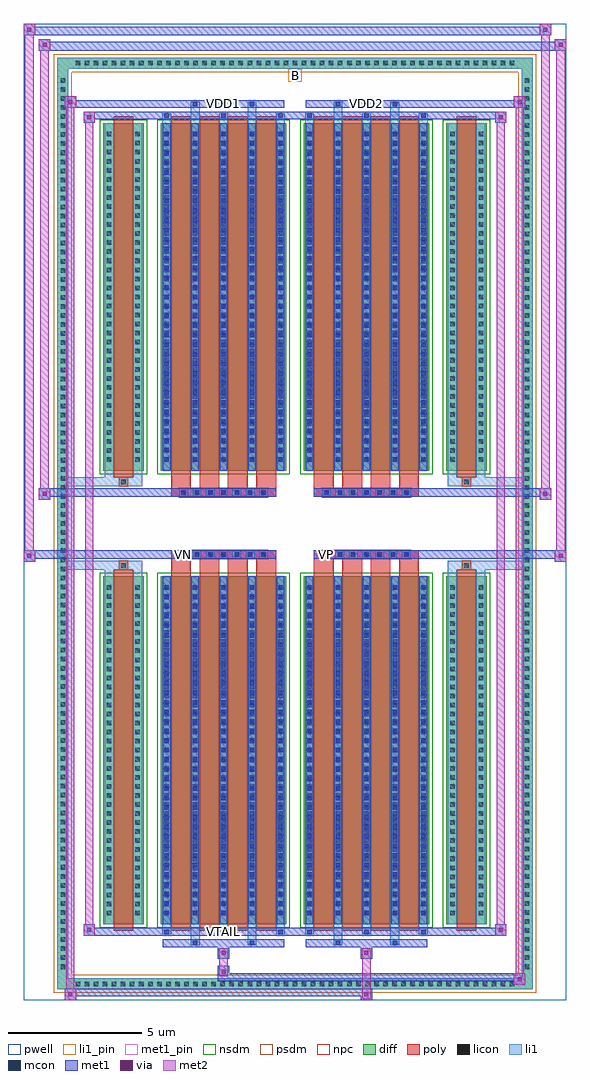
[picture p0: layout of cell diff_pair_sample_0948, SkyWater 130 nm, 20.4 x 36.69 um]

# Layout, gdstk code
import gdstk
lib = gdstk.Library(unit=1e-6, precision=5e-09)
def R(c, l, rs):  # rectangles x0, y0, x1, y1
    for r in rs: c.add(gdstk.rectangle(r[:2], r[2:], *l))
def A(c, l, x, y, w, h, nx, ny, dx, dy):  # array of equal rectangles
    R(c, l, [(x+i*dx, y+j*dy, x+i*dx+w, y+j*dy+h) for i in range(nx) for j in range(ny)])
def P(c, l, *ps):  # polygons
    for p in ps: c.add(gdstk.Polygon(p, *l))
pwell = (64, 44)
diff = (65, 20)
poly = (66, 20)
licon = (66, 44)
li1_pin = (67, 16)
li1 = (67, 20)
mcon = (67, 44)
met1_pin = (68, 16)
met1 = (68, 20)
via = (68, 44)
met2 = (69, 20)
nsdm = (93, 44)
psdm = (94, 20)
npc = (95, 20)

diff_pair_sample_0948 = lib.new_cell('diff_pair_sample_0948')
R(diff_pair_sample_0948, pwell, [(-10.2,-17.91,10.2,18.78), (-7.52,-16.1,-0.01,-0.8), (0.01,-16.1,7.52,-0.8), (-7.52,0.8,-0.01,16.1), (0.01,0.8,7.52,16.1)])
A(diff_pair_sample_0948, diff, -8.365, -17.51, 0.41, 0.41, 49, 2, 0.34, 34.61)
A(diff_pair_sample_0948, diff, -8.93, -16.865, 0.41, 0.41, 1, 99, 0, 0.34)
A(diff_pair_sample_0948, diff, 8.52, -16.865, 0.41, 0.41, 1, 99, 0, 0.34)
R(diff_pair_sample_0948, diff, [(-8.365,-17.51,8.365,-17.1), (-8.93,-16.865,-8.52,16.865), (8.52,-16.865,8.93,16.865), (-7.21,-15.055,-5.69,-1.985), (-5.05,-15.055,-0.32,-1.985), (0.32,-15.055,5.05,-1.985), (5.69,-15.055,7.21,-1.985), (-7.21,1.985,-5.69,15.055), (-5.05,1.985,-0.32,15.055), (0.32,1.985,5.05,15.055), (5.69,1.985,7.21,15.055), (-8.365,17.1,8.365,17.51)])
P(diff_pair_sample_0948, diff, [(8.93,17.51),(-8.93,17.51),(-8.93,-17.1),(-8.52,-17.1),(-8.52,17.1),(8.52,17.1),(8.52,-17.1),(-8.52,-17.1),(-8.93,-17.1),(-8.93,-17.51),(8.93,-17.51)])
A(diff_pair_sample_0948, poly, -4.66, -15.305, 0.74, 13.57, 4, 2, 1.07, 17.04)
A(diff_pair_sample_0948, poly, 0.71, -15.305, 0.74, 13.57, 4, 2, 1.07, 17.04)
A(diff_pair_sample_0948, poly, -4.66, -1.735, 0.74, 0.405, 4, 2, 1.07, 3.065)
A(diff_pair_sample_0948, poly, 0.71, -1.735, 0.74, 0.405, 4, 2, 1.07, 3.065)
A(diff_pair_sample_0948, poly, -4.35, -1.33, 0.33, 0.33, 7, 2, 0.5, 2.33)
A(diff_pair_sample_0948, poly, 1.02, -1.33, 0.33, 0.33, 7, 2, 0.5, 2.33)
R(diff_pair_sample_0948, poly, [(-6.82,-15.305,-6.08,-1.735), (6.08,-15.305,6.82,-1.735), (-6.615,-1.735,-6.285,-1.405), (-6.615,-1.735,-6.285,-1.405), (6.285,-1.735,6.615,-1.405), (6.285,-1.735,6.615,-1.405), (-4.66,-1.33,-0.71,-1), (0.71,-1.33,4.66,-1), (-4.66,1,-0.71,1.33), (0.71,1,4.66,1.33), (-6.615,1.405,-6.285,1.735), (-6.615,1.405,-6.285,1.735), (6.285,1.405,6.615,1.735), (6.285,1.405,6.615,1.735), (-6.82,1.735,-6.08,15.305), (6.08,1.735,6.82,15.305)])
A(diff_pair_sample_0948, licon, -8.245, -17.39, 0.17, 0.17, 49, 2, 0.34, 34.61)
A(diff_pair_sample_0948, licon, -8.81, -16.745, 0.17, 0.17, 1, 99, 0, 0.34)
A(diff_pair_sample_0948, licon, 8.64, -16.745, 0.17, 0.17, 1, 99, 0, 0.34)
A(diff_pair_sample_0948, licon, -7.07, -14.725, 0.17, 0.17, 1, 37, 0, 0.34)
A(diff_pair_sample_0948, licon, -6, -14.725, 0.17, 0.17, 1, 37, 0, 0.34)
A(diff_pair_sample_0948, licon, -4.91, -14.725, 0.17, 0.17, 5, 37, 1.07, 0.34)
A(diff_pair_sample_0948, licon, 0.46, -14.725, 0.17, 0.17, 5, 37, 1.07, 0.34)
A(diff_pair_sample_0948, licon, 5.83, -14.725, 0.17, 0.17, 1, 37, 0, 0.34)
A(diff_pair_sample_0948, licon, 6.9, -14.725, 0.17, 0.17, 1, 37, 0, 0.34)
A(diff_pair_sample_0948, licon, -4.27, -1.25, 0.17, 0.17, 7, 2, 0.5, 2.33)
A(diff_pair_sample_0948, licon, 1.1, -1.25, 0.17, 0.17, 7, 2, 0.5, 2.33)
A(diff_pair_sample_0948, licon, -7.07, 2.315, 0.17, 0.17, 1, 37, 0, 0.34)
A(diff_pair_sample_0948, licon, -6, 2.315, 0.17, 0.17, 1, 37, 0, 0.34)
A(diff_pair_sample_0948, licon, -4.91, 2.315, 0.17, 0.17, 5, 37, 1.07, 0.34)
A(diff_pair_sample_0948, licon, 0.46, 2.315, 0.17, 0.17, 5, 37, 1.07, 0.34)
A(diff_pair_sample_0948, licon, 5.83, 2.315, 0.17, 0.17, 1, 37, 0, 0.34)
A(diff_pair_sample_0948, licon, 6.9, 2.315, 0.17, 0.17, 1, 37, 0, 0.34)
R(diff_pair_sample_0948, licon, [(-6.535,-1.655,-6.365,-1.485), (6.365,-1.655,6.535,-1.485), (-6.535,1.485,-6.365,1.655), (6.365,1.485,6.535,1.655)])
R(diff_pair_sample_0948, li1_pin, [(-0.25,16.6,0.25,17.1)])
A(diff_pair_sample_0948, li1, -8.325, -17.47, 0.33, 0.33, 49, 2, 0.34, 34.61)
A(diff_pair_sample_0948, li1, -8.89, -16.825, 0.33, 0.33, 1, 99, 0, 0.34)
A(diff_pair_sample_0948, li1, 8.56, -16.825, 0.33, 0.33, 1, 99, 0, 0.34)
A(diff_pair_sample_0948, li1, -4.99, -15.43, 0.33, 0.375, 3, 2, 2.14, 30.485)
A(diff_pair_sample_0948, li1, -4.91, -15.43, 0.17, 0.17, 3, 2, 2.14, 30.69)
A(diff_pair_sample_0948, li1, 0.38, -15.43, 0.33, 0.375, 3, 2, 2.14, 30.485)
A(diff_pair_sample_0948, li1, 0.46, -15.43, 0.17, 0.17, 3, 2, 2.14, 30.69)
A(diff_pair_sample_0948, li1, -4.99, -15.055, 0.33, 13.07, 5, 2, 1.07, 17.04)
A(diff_pair_sample_0948, li1, 0.38, -15.055, 0.33, 13.07, 5, 2, 1.07, 17.04)
A(diff_pair_sample_0948, li1, -7.15, -14.805, 0.33, 0.33, 1, 37, 0, 0.34)
A(diff_pair_sample_0948, li1, -6.08, -14.805, 0.33, 0.33, 1, 37, 0, 0.34)
A(diff_pair_sample_0948, li1, -4.99, -14.805, 0.33, 0.33, 5, 37, 1.07, 0.34)
A(diff_pair_sample_0948, li1, 0.38, -14.805, 0.33, 0.33, 5, 37, 1.07, 0.34)
A(diff_pair_sample_0948, li1, 5.75, -14.805, 0.33, 0.33, 1, 37, 0, 0.34)
A(diff_pair_sample_0948, li1, 6.82, -14.805, 0.33, 0.33, 1, 37, 0, 0.34)
A(diff_pair_sample_0948, li1, -4.91, -14.725, 0.17, 0.17, 5, 35, 1.07, 0.36)
A(diff_pair_sample_0948, li1, -4.91, -14.725, 0.17, 12.41, 5, 2, 1.07, 17.04)
A(diff_pair_sample_0948, li1, 0.46, -14.725, 0.17, 0.17, 5, 35, 1.07, 0.36)
A(diff_pair_sample_0948, li1, 0.46, -14.725, 0.17, 12.41, 5, 2, 1.07, 17.04)
A(diff_pair_sample_0948, li1, -4.35, -1.33, 0.33, 0.33, 7, 2, 0.5, 2.33)
A(diff_pair_sample_0948, li1, 1.02, -1.33, 0.33, 0.33, 7, 2, 0.5, 2.33)
A(diff_pair_sample_0948, li1, -7.15, 2.235, 0.33, 0.33, 1, 37, 0, 0.34)
A(diff_pair_sample_0948, li1, -6.08, 2.235, 0.33, 0.33, 1, 37, 0, 0.34)
A(diff_pair_sample_0948, li1, -4.99, 2.235, 0.33, 0.33, 5, 37, 1.07, 0.34)
A(diff_pair_sample_0948, li1, 0.38, 2.235, 0.33, 0.33, 5, 37, 1.07, 0.34)
A(diff_pair_sample_0948, li1, 5.75, 2.235, 0.33, 0.33, 1, 37, 0, 0.34)
A(diff_pair_sample_0948, li1, 6.82, 2.235, 0.33, 0.33, 1, 37, 0, 0.34)
A(diff_pair_sample_0948, li1, -4.91, 2.315, 0.17, 0.17, 5, 35, 1.07, 0.36)
A(diff_pair_sample_0948, li1, 0.46, 2.315, 0.17, 0.17, 5, 35, 1.07, 0.36)
R(diff_pair_sample_0948, li1, [(-8.93,-17.51,-8.52,-17.1), (-8.93,-17.51,-8.52,-17.1), (-8.52,-17.51,8.52,-17.1), (8.52,-17.51,8.93,-17.1), (8.52,-17.51,8.93,-17.1), (-8.93,-17.1,-8.52,17.1), (8.52,-17.1,8.93,17.1), (-3.92,-15.86,-3.59,-15.055), (-3.84,-15.86,-3.67,-15.69), (-1.78,-15.86,-1.45,-15.055), (-1.7,-15.86,-1.53,-15.69), (1.45,-15.86,1.78,-15.055), (1.53,-15.86,1.7,-15.69), (3.59,-15.86,3.92,-15.055), (3.67,-15.86,3.84,-15.69), (-7.15,-15.055,-6.82,-1.985), (-6.08,-15.055,-5.75,-1.985), (5.75,-15.055,6.08,-1.985), (6.82,-15.055,7.15,-1.985), (-7.15,-1.985,-6.82,-1.405), (-6.08,-1.985,-5.75,-1.405), (5.75,-1.985,6.08,-1.405), (6.82,-1.985,7.15,-1.405), (-8.93,-1.735,-6.615,-1.405), (-7.15,-1.735,-6.615,-1.405), (-6.615,-1.735,-6.285,-1.405), (-6.285,-1.735,-5.75,-1.405), (5.75,-1.735,6.285,-1.405), (6.285,-1.735,6.615,-1.405), (6.285,-1.735,8.93,-1.405), (6.615,-1.735,7.15,-1.405), (-8.93,1.405,-6.615,1.735), (-7.15,1.405,-6.615,1.735), (-7.15,1.405,-6.82,1.985), (-6.615,1.405,-6.285,1.735), (-6.285,1.405,-5.75,1.735), (-6.08,1.405,-5.75,1.985), (5.75,1.405,6.285,1.735), (5.75,1.405,6.08,1.985), (6.285,1.405,6.615,1.735), (6.285,1.405,8.93,1.735), (6.615,1.405,7.15,1.735), (6.82,1.405,7.15,1.985), (-7.15,1.985,-6.82,15.055), (-6.08,1.985,-5.75,15.055), (5.75,1.985,6.08,15.055), (6.82,1.985,7.15,15.055), (-3.92,15.055,-3.59,15.86), (-1.78,15.055,-1.45,15.86), (1.45,15.055,1.78,15.86), (3.59,15.055,3.92,15.86), (-3.84,15.69,-3.67,15.86), (-1.7,15.69,-1.53,15.86), (1.53,15.69,1.7,15.86), (3.67,15.69,3.84,15.86), (-8.93,17.1,-8.52,17.51), (-8.93,17.1,-8.52,17.51), (-8.52,17.1,8.52,17.51), (8.52,17.1,8.93,17.51), (8.52,17.1,8.93,17.51)])
A(diff_pair_sample_0948, mcon, -4.91, -15.43, 0.17, 0.17, 3, 2, 2.14, 30.69)
A(diff_pair_sample_0948, mcon, 0.46, -15.43, 0.17, 0.17, 3, 2, 2.14, 30.69)
A(diff_pair_sample_0948, mcon, -4.91, -14.725, 0.17, 0.17, 5, 35, 1.07, 0.36)
A(diff_pair_sample_0948, mcon, 0.46, -14.725, 0.17, 0.17, 5, 35, 1.07, 0.36)
A(diff_pair_sample_0948, mcon, -4.27, -1.25, 0.17, 0.17, 7, 2, 0.5, 2.33)
A(diff_pair_sample_0948, mcon, 1.1, -1.25, 0.17, 0.17, 7, 2, 0.5, 2.33)
A(diff_pair_sample_0948, mcon, -4.91, 2.315, 0.17, 0.17, 5, 35, 1.07, 0.36)
A(diff_pair_sample_0948, mcon, 0.46, 2.315, 0.17, 0.17, 5, 35, 1.07, 0.36)
R(diff_pair_sample_0948, mcon, [(-3.84,-15.86,-3.67,-15.69), (-1.7,-15.86,-1.53,-15.69), (1.53,-15.86,1.7,-15.69), (3.67,-15.86,3.84,-15.69), (-3.84,15.69,-3.67,15.86), (-1.7,15.69,-1.53,15.86), (1.53,15.69,1.7,15.86), (3.67,15.69,3.84,15.86)])
R(diff_pair_sample_0948, met1_pin, [(-2.82,-15.47,-2.55,-15.2), (-4.32,-1.29,-4.05,-1.02), (1.05,-1.29,1.32,-1.02), (-2.82,15.65,-2.55,15.92), (2.55,15.65,2.82,15.92)])
A(diff_pair_sample_0948, met1, -4.97, -15.49, 0.29, 0.29, 3, 2, 2.14, 30.69)
A(diff_pair_sample_0948, met1, 0.4, -15.49, 0.29, 0.29, 3, 2, 2.14, 30.69)
A(diff_pair_sample_0948, met1, -4.97, -15.055, 0.29, 13.07, 5, 2, 1.07, 17.04)
A(diff_pair_sample_0948, met1, 0.4, -15.055, 0.29, 13.07, 5, 2, 1.07, 17.04)
A(diff_pair_sample_0948, met1, -4.97, -14.785, 0.29, 0.29, 5, 35, 1.07, 0.36)
A(diff_pair_sample_0948, met1, 0.4, -14.785, 0.29, 0.29, 5, 35, 1.07, 0.36)
A(diff_pair_sample_0948, met1, -4.33, -1.31, 0.29, 0.29, 7, 2, 0.5, 2.33)
A(diff_pair_sample_0948, met1, 1.04, -1.31, 0.29, 0.29, 7, 2, 0.5, 2.33)
A(diff_pair_sample_0948, met1, -4.97, 2.255, 0.29, 0.29, 5, 35, 1.07, 0.36)
A(diff_pair_sample_0948, met1, 0.4, 2.255, 0.29, 0.29, 5, 35, 1.07, 0.36)
R(diff_pair_sample_0948, met1, [(-8.66,-17.91,-8.23,-17.48), (2.47,-17.91,2.9,-17.48), (-8.66,-17.77,2.9,-17.48), (8.23,-17.34,8.66,-16.91), (-2.9,-17.2,8.66,-16.91), (-2.9,-17.06,-2.47,-16.63), (-2.9,-16.35,-2.47,-15.92), (2.47,-16.35,2.9,-15.92), (-4.97,-15.92,-0.4,-15.63), (-3.9,-15.92,-3.61,-15.63), (-1.76,-15.92,-1.47,-15.63), (0.4,-15.92,4.97,-15.63), (1.47,-15.92,1.76,-15.63), (3.61,-15.92,3.9,-15.63), (-7.95,-15.49,-7.52,-15.06), (-7.95,-15.49,-4.97,-15.2), (-4.97,-15.49,-0.4,-15.2), (-0.4,-15.49,0.4,-15.2), (0.4,-15.49,4.97,-15.2), (4.97,-15.49,7.95,-15.2), (7.52,-15.49,7.95,-15.06), (-10.2,-1.43,-9.77,-1), (9.77,-1.43,10.2,-1), (-10.2,-1.33,-0.71,-1), (-4.66,-1.33,-0.71,-1), (0.71,-1.33,4.66,-1), (0.71,-1.33,10.2,-1), (-9.63,0.9,-9.2,1.33), (9.2,0.9,9.63,1.33), (-9.63,1,-4.66,1.33), (-4.66,1,-0.71,1.33), (0.71,1,4.66,1.33), (4.66,1,9.63,1.33), (-7.95,15.06,-7.52,15.49), (7.52,15.06,7.95,15.49), (-7.95,15.2,-4.97,15.49), (-4.97,15.2,-0.4,15.49), (-0.4,15.2,0.4,15.49), (0.4,15.2,4.97,15.49), (4.97,15.2,7.95,15.49), (-8.66,15.63,-8.23,16.06), (-8.66,15.63,-4.97,15.92), (-4.97,15.63,-0.4,15.92), (-3.9,15.63,-3.61,15.92), (-1.76,15.63,-1.47,15.92), (0.4,15.63,4.97,15.92), (1.47,15.63,1.76,15.92), (3.61,15.63,3.9,15.92), (4.97,15.63,8.66,15.92), (8.23,15.63,8.66,16.06), (-9.63,17.78,-9.2,18.21), (-9.63,17.78,-7.52,18.11), (-7.52,17.78,7.52,18.11), (7.52,17.78,10.2,18.11), (9.77,17.78,10.2,18.21), (-10.2,18.35,-9.77,18.78), (-10.2,18.35,-7.52,18.68), (-7.52,18.35,7.52,18.68), (7.52,18.35,9.63,18.68), (9.2,18.35,9.63,18.78)])
R(diff_pair_sample_0948, via, [(-8.52,-17.77,-8.37,-17.62), (2.61,-17.77,2.76,-17.62), (8.37,-17.2,8.52,-17.05), (-2.76,-16.92,-2.61,-16.77), (-2.76,-16.21,-2.61,-16.06), (2.61,-16.21,2.76,-16.06), (-7.81,-15.35,-7.66,-15.2), (7.66,-15.35,7.81,-15.2), (-10.06,-1.29,-9.91,-1.14), (9.91,-1.29,10.06,-1.14), (-9.49,1.04,-9.34,1.19), (9.34,1.04,9.49,1.19), (-7.81,15.2,-7.66,15.35), (7.66,15.2,7.81,15.35), (-8.52,15.77,-8.37,15.92), (8.37,15.77,8.52,15.92), (-9.49,17.92,-9.34,18.07), (9.91,17.92,10.06,18.07), (-10.06,18.49,-9.91,18.64), (9.34,18.49,9.49,18.64)])
R(diff_pair_sample_0948, met2, [(-8.66,-17.91,-8.23,-17.48), (-8.59,-17.91,-8.3,16.06), (-8.3,-17.91,-8.23,-17.48), (-8.61,-17.86,-8.28,-17.53), (2.52,-17.86,2.85,-17.53), (2.52,-17.53,2.85,-16.3), (8.23,-17.34,8.66,-16.91), (8.3,-17.34,8.59,16.06), (8.59,-17.34,8.66,-16.91), (8.28,-17.29,8.61,-16.96), (-2.85,-17.01,-2.52,-16.68), (-2.85,-16.68,-2.52,-16.3), (-2.85,-16.3,-2.52,-15.97), (2.52,-16.3,2.85,-15.97), (-7.95,-15.49,-7.52,-15.06), (-7.88,-15.49,-7.59,15.49), (-7.59,-15.49,-7.52,-15.06), (7.52,-15.49,7.95,-15.06), (7.59,-15.49,7.88,15.49), (7.88,-15.49,7.95,-15.06), (-7.9,-15.44,-7.57,-15.11), (7.57,-15.44,7.9,-15.11), (-10.2,-1.43,-9.77,-1), (-10.15,-1.43,-9.82,18.78), (-9.82,-1.43,-9.77,-1), (9.77,-1.43,10.2,-1), (9.82,-1.43,10.15,18.21), (10.15,-1.43,10.2,-1), (-10.15,-1.38,-9.82,-1.05), (9.82,-1.38,10.15,-1.05), (-9.63,0.9,-9.2,1.33), (-9.58,0.9,-9.25,18.21), (-9.25,0.9,-9.2,1.33), (9.2,0.9,9.63,1.33), (9.25,0.9,9.58,18.78), (9.58,0.9,9.63,1.33), (-9.58,0.95,-9.25,1.28), (9.25,0.95,9.58,1.28), (-7.95,15.06,-7.52,15.49), (-7.59,15.06,-7.52,15.49), (7.52,15.06,7.95,15.49), (7.88,15.06,7.95,15.49), (-7.9,15.11,-7.57,15.44), (7.57,15.11,7.9,15.44), (-8.66,15.63,-8.23,16.06), (-8.3,15.63,-8.23,16.06), (8.23,15.63,8.66,16.06), (8.59,15.63,8.66,16.06), (-8.61,15.68,-8.28,16.01), (8.28,15.68,8.61,16.01), (-9.63,17.78,-9.2,18.21), (-9.25,17.78,-9.2,18.21), (9.77,17.78,10.2,18.21), (10.15,17.78,10.2,18.21), (-9.58,17.83,-9.25,18.16), (9.82,17.83,10.15,18.16), (-10.2,18.35,-9.77,18.78), (-9.82,18.35,-9.77,18.78), (9.2,18.35,9.63,18.78), (9.58,18.35,9.63,18.78), (-10.15,18.4,-9.82,18.73), (9.25,18.4,9.58,18.73)])
R(diff_pair_sample_0948, nsdm, [(-7.34,-15.185,-5.56,-1.855), (-5.18,-15.185,-0.19,-1.855), (0.19,-15.185,5.18,-1.855), (5.56,-15.185,7.34,-1.855), (-7.34,1.855,-5.56,15.185), (-5.18,1.855,-0.19,15.185), (0.19,1.855,5.18,15.185), (5.56,1.855,7.34,15.185)])
P(diff_pair_sample_0948, psdm, [(9.06,17.64),(-9.06,17.64),(-9.06,-16.97),(-8.39,-16.97),(-8.39,16.97),(8.39,16.97),(8.39,-16.97),(-8.39,-16.97),(-9.06,-16.97),(-9.06,-17.64),(9.06,-17.64)])
A(diff_pair_sample_0948, npc, -4.37, -1.35, 0.37, 0.37, 7, 2, 0.5, 2.33)
A(diff_pair_sample_0948, npc, 1, -1.35, 0.37, 0.37, 7, 2, 0.5, 2.33)
R(diff_pair_sample_0948, npc, [(-6.635,-1.755,-6.265,-1.385), (6.265,-1.755,6.635,-1.385), (-4.37,-1.35,-3.5,-0.98), (-4.37,-1.35,-3.5,-0.98), (-3.87,-1.35,-3,-0.98), (-3.87,-1.35,-3,-0.98), (-3.37,-1.35,-2.5,-0.98), (-3.37,-1.35,-2.5,-0.98), (-2.87,-1.35,-2,-0.98), (-2.87,-1.35,-2,-0.98), (-2.37,-1.35,-1.5,-0.98), (-2.37,-1.35,-1.5,-0.98), (-1.87,-1.35,-1,-0.98), (-1.87,-1.35,-1,-0.98), (1,-1.35,1.87,-0.98), (1,-1.35,1.87,-0.98), (1.5,-1.35,2.37,-0.98), (1.5,-1.35,2.37,-0.98), (2,-1.35,2.87,-0.98), (2,-1.35,2.87,-0.98), (2.5,-1.35,3.37,-0.98), (2.5,-1.35,3.37,-0.98), (3,-1.35,3.87,-0.98), (3,-1.35,3.87,-0.98), (3.5,-1.35,4.37,-0.98), (3.5,-1.35,4.37,-0.98), (-4.37,0.98,-3.5,1.35), (-4.37,0.98,-3.5,1.35), (-3.87,0.98,-3,1.35), (-3.87,0.98,-3,1.35), (-3.37,0.98,-2.5,1.35), (-3.37,0.98,-2.5,1.35), (-2.87,0.98,-2,1.35), (-2.87,0.98,-2,1.35), (-2.37,0.98,-1.5,1.35), (-2.37,0.98,-1.5,1.35), (-1.87,0.98,-1,1.35), (-1.87,0.98,-1,1.35), (1,0.98,1.87,1.35), (1,0.98,1.87,1.35), (1.5,0.98,2.37,1.35), (1.5,0.98,2.37,1.35), (2,0.98,2.87,1.35), (2,0.98,2.87,1.35), (2.5,0.98,3.37,1.35), (2.5,0.98,3.37,1.35), (3,0.98,3.87,1.35), (3,0.98,3.87,1.35), (3.5,0.98,4.37,1.35), (3.5,0.98,4.37,1.35), (-6.635,1.385,-6.265,1.755), (6.265,1.385,6.635,1.755)])
diff_pair_sample_0948.add(gdstk.Label('VTAIL', (-2.685,-15.335), layer=68, texttype=5))
diff_pair_sample_0948.add(gdstk.Label('VN', (-4.185,-1.155), layer=68, texttype=5))
diff_pair_sample_0948.add(gdstk.Label('VP', (1.185,-1.155), layer=68, texttype=5))
diff_pair_sample_0948.add(gdstk.Label('B', (0,16.85), layer=67, texttype=5))
diff_pair_sample_0948.add(gdstk.Label('VDD2', (2.685,15.785), layer=68, texttype=5))
diff_pair_sample_0948.add(gdstk.Label('VDD1', (-2.685,15.785), layer=68, texttype=5))

lib.write_gds('diff_pair_sample_0948.gds')
